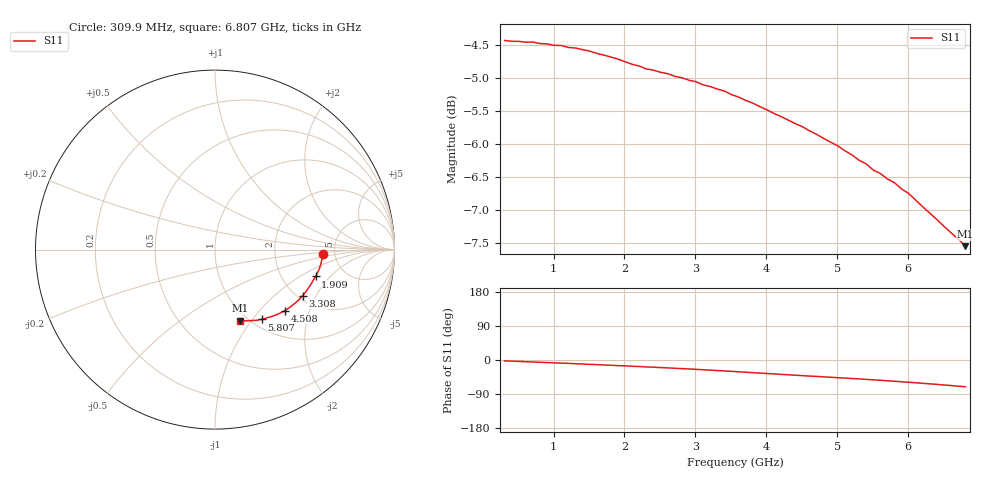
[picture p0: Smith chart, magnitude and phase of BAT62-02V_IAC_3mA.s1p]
! Infineon Technologies  Discrete & RF Semiconductors
! BAT62-02V
! IAC = 3 mA
! One-Port S-Parameters
# Hz  S  MA  R  50
!f  S11
!Hz  Mag  Ang
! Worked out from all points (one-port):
!   66 points, 309.9 MHz to 6.807 GHz, reference 50 ohm
!   lowest |S11| = -7.5 dB at 6.807 GHz (marker M1), VSWR 2.45, Z = 46 - j44.1 ohm
!   |S11| at or under -10 dB: nowhere
!   S11 on the Smith chart (normalised r, x): 309.9 MHz: 3.98, -0.30; 1.909 GHz: 3.08, -1.39; 3.308 GHz: 2.12, -1.57; 4.508 GHz: 1.50, -1.39; 5.807 GHz: 1.12, -1.12; 6.807 GHz: 0.92, -0.88
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3.0985e8  0.6 -2.3
6.097e8  0.5983 -4.6
7.0965e8  0.5984 -5.1
1.2094e9  0.5928 -8.9
1.30935e9  0.5922 -9.8
1.4093e9  0.5906 -10.5
1.50925e9  0.589 -11.5
1.6092e9  0.5867 -12.1
1.70915e9  0.5849 -13.2
1.8091e9  0.5829 -13.8
1.90905e9  0.5809 -14.9
2.009e9  0.5782 -15.4
2.10895e9  0.5757 -16.6
2.2089e9  0.5739 -17.1
2.30885e9  0.5711 -18.4
2.4088e9  0.5698 -19.0
2.8086e9  0.5624 -22.7
3.30835e9  0.5515 -27.8
3.6082e9  0.5438 -31.1
4.008e9  0.5318 -35.6
4.4078e9  0.5192 -40.2
4.50775e9  0.5165 -41.2
5.0075e9  0.4995 -46.7
5.2074e9  0.4917 -48.8
5.8071e9  0.4685 -56.1
6.007e9  0.4598 -58.8
6.50675e9  0.4341 -66.0
6.8066e9  0.4195 -70.5
